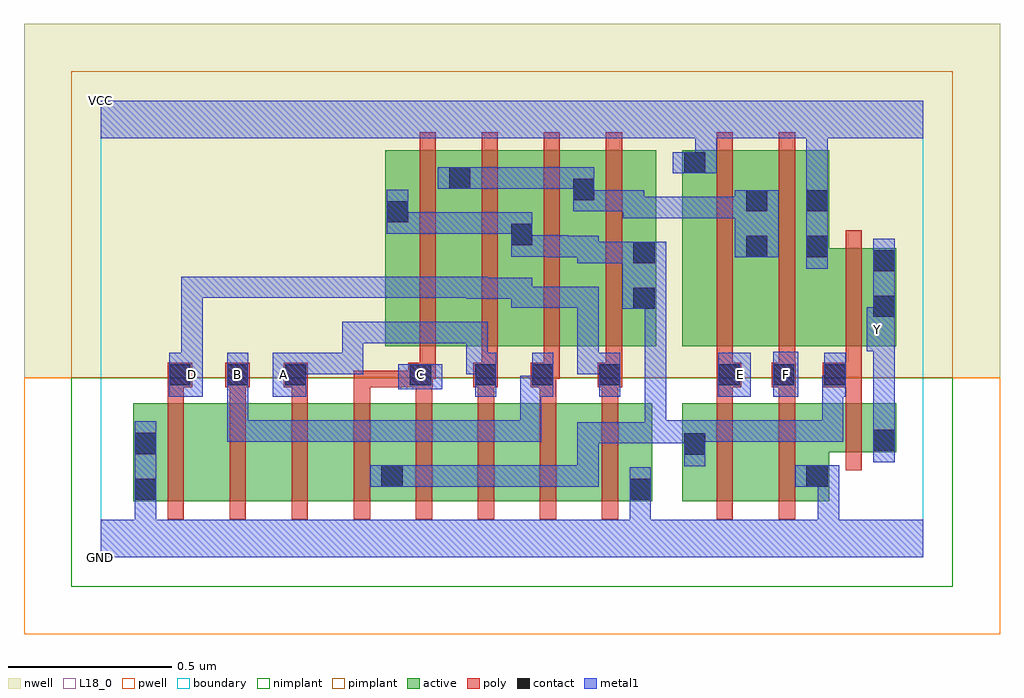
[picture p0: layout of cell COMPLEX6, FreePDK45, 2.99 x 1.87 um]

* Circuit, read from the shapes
.subckt COMPLEX6 A B C D E F GND VCC Y
M1 n1 D GND VSUBS nfet w=0.3u l=0.05u
M2 n2 B n1 VSUBS nfet w=0.3u l=0.05u
M3 n3 A n2 VSUBS nfet w=0.3u l=0.05u
M4 n4 C n3 VSUBS nfet w=0.3u l=0.05u
M5 n5 C n4 VSUBS nfet w=0.3u l=0.05u
M6 n6 A n5 VSUBS nfet w=0.3u l=0.05u
M7 n7 B n6 VSUBS nfet w=0.3u l=0.05u
M8 GND D n7 VSUBS nfet w=0.3u l=0.05u
M9 n8 E n4 VSUBS nfet w=0.3u l=0.05u
M10 GND F n8 VSUBS nfet w=0.3u l=0.05u
M11 Y n4 GND VSUBS nfet w=0.15u l=0.05u
M12 n9 C n4 n10 pfet w=0.6u l=0.05u
M13 n4 A n9 n10 pfet w=0.6u l=0.05u
M14 n9 B n4 n10 pfet w=0.6u l=0.05u
M15 n4 D n9 n10 pfet w=0.6u l=0.05u
M16 n9 E VCC n10 pfet w=0.6u l=0.05u
M17 VCC F n9 n10 pfet w=0.6u l=0.05u
M18 Y n4 VCC n10 pfet w=0.3u l=0.05u
.ends

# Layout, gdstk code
import gdstk
lib = gdstk.Library(unit=1e-6, precision=1e-09)
def R(c, l, rs):  # rectangles x0, y0, x1, y1
    for r in rs: c.add(gdstk.rectangle(r[:2], r[2:], *l))
def A(c, l, x, y, w, h, nx, ny, dx, dy):  # array of equal rectangles
    R(c, l, [(x+i*dx, y+j*dy, x+i*dx+w, y+j*dy+h) for i in range(nx) for j in range(ny)])
active = (1, 0)
pwell = (2, 0)
nwell = (3, 0)
nimplant = (4, 0)
pimplant = (5, 0)
poly = (9, 0)
contact = (10, 0)
metal1 = (11, 0)
L18_0 = (18, 0)
boundary = (235, 0)

complex6 = lib.new_cell('COMPLEX6')
A(complex6, active, 0.872, 0.647, 0.265, 0.6, 3, 1, 0.19, 0)
R(complex6, active, [(0.1,0.172,0.325,0.472), (0.1,0.172,0.175,0.472), (0.325,0.172,0.515,0.472), (0.515,0.172,0.705,0.472), (0.705,0.172,0.93,0.472), (0.855,0.172,1.085,0.472), (1.085,0.172,1.275,0.472), (1.275,0.172,1.465,0.472), (1.465,0.172,1.69,0.472), (1.615,0.172,1.69,0.472), (1.782,0.172,2.007,0.472), (2.007,0.172,2.232,0.472), (2.157,0.172,2.232,0.322), (0.855,0.195,0.93,0.392), (1.782,0.195,1.887,0.472), (2.157,0.322,2.437,0.472), (2.362,0.322,2.437,0.472), (1.442,0.647,1.702,1.247), (1.627,0.647,1.702,1.047), (1.782,0.647,2.047,1.247), (1.972,0.647,2.232,1.247), (2.157,0.647,2.437,0.947), (2.362,0.647,2.437,0.947), (0.872,0.707,0.947,1.2), (1.062,0.707,1.137,1.2), (1.252,0.707,1.327,1.07), (1.442,0.707,1.517,1.2), (1.782,0.707,1.857,1.247), (1.972,0.707,2.047,1.2), (2.157,0.707,2.232,1.13)])
R(complex6, pwell, [(-0.235,-0.235,2.755,0.55)])
R(complex6, nwell, [(-0.235,0.55,2.755,1.635)])
R(complex6, nimplant, [(-0.09,-0.09,2.61,0.55)])
R(complex6, pimplant, [(-0.09,0.55,2.61,1.49)])
A(complex6, poly, 0.205, 0.117, 0.05, 0.41, 8, 1, 0.19, 0)
A(complex6, poly, 0.205, 0.477, 0.05, 0.095, 8, 1, 0.19, 0)
A(complex6, poly, 0.977, 0.547, 0.05, 0.095, 4, 1, 0.19, 0)
A(complex6, poly, 0.977, 0.592, 0.05, 0.71, 4, 1, 0.19, 0)
R(complex6, poly, [(1.887,0.117,1.937,0.527), (2.077,0.117,2.127,0.527), (2.282,0.267,2.332,0.527), (1.887,0.477,1.937,0.572), (2.077,0.477,2.127,0.572), (2.282,0.477,2.332,0.572), (0.205,0.522,0.28,0.597), (0.382,0.522,0.457,0.597), (0.56,0.522,0.635,0.597), (0.775,0.522,0.825,0.572), (0.775,0.522,0.992,0.572), (0.942,0.522,0.992,0.572), (0.942,0.522,0.992,0.572), (0.942,0.522,1.017,0.597), (1.142,0.522,1.217,0.597), (1.155,0.522,1.205,0.572), (1.155,0.522,1.205,0.572), (1.317,0.522,1.395,0.597), (1.522,0.522,1.597,0.597), (1.535,0.522,1.585,0.572), (1.535,0.522,1.585,0.572), (1.887,0.522,1.937,0.572), (1.887,0.522,1.937,0.572), (1.887,0.522,1.962,0.597), (2.055,0.522,2.13,0.597), (2.077,0.522,2.127,0.572), (2.077,0.522,2.127,0.572), (2.212,0.522,2.332,0.597), (0.967,0.547,1.017,0.597), (0.967,0.547,1.027,0.597), (1.345,0.547,1.395,0.597), (1.345,0.547,1.407,0.597), (1.887,0.547,1.937,0.642), (2.077,0.547,2.127,0.642), (2.282,0.547,2.332,0.642), (2.282,0.547,2.332,0.597), (2.282,0.547,2.332,0.597), (1.887,0.592,1.937,1.302), (2.077,0.592,2.127,1.302), (2.282,0.592,2.332,1.002)])
R(complex6, contact, [(0.105,0.177,0.17,0.242), (1.62,0.177,1.685,0.242), (0.86,0.217,0.925,0.282), (2.162,0.217,2.227,0.282), (1.787,0.315,1.852,0.38), (0.105,0.317,0.17,0.382), (2.367,0.327,2.432,0.392), (0.21,0.527,0.275,0.592), (0.387,0.527,0.452,0.592), (0.565,0.527,0.63,0.592), (0.947,0.527,1.012,0.592), (1.147,0.527,1.212,0.592), (1.322,0.527,1.387,0.592), (1.527,0.527,1.592,0.592), (1.892,0.527,1.957,0.592), (2.06,0.527,2.125,0.592), (2.217,0.527,2.282,0.592), (2.367,0.737,2.432,0.802), (1.632,0.762,1.697,0.827), (2.367,0.877,2.432,0.942), (1.632,0.902,1.697,0.967), (1.977,0.92,2.042,0.985), (2.162,0.92,2.227,0.985), (1.257,0.957,1.322,1.022), (0.877,1.027,0.942,1.092), (1.977,1.06,2.042,1.125), (2.162,1.06,2.227,1.125), (1.447,1.095,1.512,1.16), (1.067,1.13,1.132,1.195), (1.787,1.177,1.852,1.242)])
R(complex6, metal1, [(0,0,2.52,0.115), (0.105,0.05,0.17,0.207), (1.62,0.05,1.685,0.207), (2.197,0.05,2.262,0.282), (0.105,0.142,0.17,0.417), (1.62,0.142,1.685,0.277), (0.825,0.217,0.96,0.282), (0.895,0.217,0.96,0.282), (0.895,0.217,0.96,0.282), (0.895,0.217,1.185,0.282), (1.12,0.217,1.185,0.282), (1.12,0.217,1.185,0.282), (1.12,0.217,1.185,0.282), (1.12,0.217,1.375,0.282), (1.31,0.217,1.375,0.282), (1.31,0.217,1.375,0.282), (1.31,0.217,1.375,0.282), (1.31,0.217,1.525,0.282), (1.46,0.217,1.525,0.415), (2.127,0.217,2.262,0.282), (1.787,0.28,1.852,0.415), (2.367,0.292,2.432,0.427), (1.46,0.35,1.68,0.415), (1.615,0.35,1.68,0.415), (1.615,0.35,1.732,0.415), (1.667,0.35,1.732,0.415), (1.667,0.35,1.732,0.415), (1.667,0.35,1.852,0.415), (1.667,0.35,1.732,0.42), (0.387,0.355,0.452,0.42), (0.387,0.355,0.452,0.557), (0.387,0.355,0.63,0.42), (0.565,0.355,0.63,0.42), (0.565,0.355,0.63,0.42), (0.565,0.355,0.63,0.42), (0.565,0.355,0.805,0.42), (0.74,0.355,0.805,0.42), (0.74,0.355,0.805,0.42), (0.74,0.355,0.805,0.42), (0.74,0.355,0.942,0.42), (0.877,0.355,0.942,0.42), (0.877,0.355,1.185,0.42), (1.12,0.355,1.185,0.42), (1.12,0.355,1.185,0.42), (1.12,0.355,1.185,0.42), (1.12,0.355,1.185,0.42), (1.12,0.355,1.185,0.42), (1.12,0.355,1.35,0.42), (1.285,0.355,1.35,0.557), (1.667,0.355,1.732,0.42), (1.667,0.355,1.732,0.42), (1.667,0.355,1.732,0.42), (1.667,0.355,1.732,0.42), (1.667,0.355,1.87,0.42), (1.667,0.355,1.732,0.827), (1.805,0.355,1.87,0.42), (1.805,0.355,1.87,0.42), (1.805,0.355,1.87,0.42), (1.805,0.355,2.055,0.42), (1.99,0.355,2.055,0.42), (1.99,0.355,2.055,0.42), (1.99,0.355,2.055,0.42), (1.99,0.355,2.275,0.42), (2.21,0.355,2.275,0.557), (2.367,0.362,2.432,0.697), (0.21,0.492,0.312,0.627), (0.387,0.492,0.452,0.557), (0.387,0.492,0.452,0.557), (0.387,0.492,0.452,0.627), (0.527,0.492,0.63,0.627), (1.147,0.492,1.212,0.627), (1.285,0.492,1.387,0.557), (1.322,0.492,1.387,0.627), (1.527,0.492,1.592,0.627), (1.892,0.492,1.992,0.627), (2.06,0.492,2.137,0.63), (2.21,0.492,2.282,0.557), (2.217,0.492,2.282,0.627), (0.912,0.515,1.047,0.592), (0.247,0.562,0.312,0.627), (0.247,0.562,0.312,0.627), (0.247,0.562,0.312,0.86), (0.565,0.562,0.63,0.627), (0.565,0.562,0.63,0.627), (0.565,0.562,0.805,0.627), (0.74,0.562,0.805,0.627), (0.74,0.562,0.805,0.627), (0.74,0.562,0.805,0.627), (0.74,0.562,0.805,0.722), (1.12,0.562,1.212,0.627), (1.12,0.562,1.185,0.722), (1.46,0.562,1.525,0.627), (1.46,0.562,1.592,0.627), (1.46,0.562,1.525,0.83), (2.347,0.632,2.432,0.767), (0.74,0.657,0.805,0.722), (0.74,0.657,1.047,0.722), (0.982,0.657,1.047,0.722), (0.982,0.657,1.185,0.722), (2.367,0.702,2.432,0.767), (2.367,0.702,2.432,0.767), (2.367,0.702,2.432,0.767), (2.367,0.702,2.432,0.977), (1.597,0.762,1.732,0.967), (1.257,0.765,1.322,0.83), (1.257,0.765,1.322,0.83), (1.257,0.765,1.525,0.83), (1.257,0.765,1.322,0.857), (1.46,0.765,1.525,0.83), (1.12,0.792,1.322,0.857), (1.12,0.792,1.185,0.86), (0.247,0.795,0.312,0.86), (0.247,0.795,0.312,0.86), (0.247,0.795,0.312,0.86), (0.247,0.795,0.45,0.86), (0.385,0.795,0.45,0.86), (0.385,0.795,0.45,0.86), (0.385,0.795,0.45,0.86), (0.385,0.795,0.59,0.86), (0.525,0.795,0.59,0.86), (0.525,0.795,0.59,0.86), (0.525,0.795,0.59,0.86), (0.525,0.795,0.767,0.86), (0.702,0.795,0.767,0.86), (0.702,0.795,0.767,0.86), (0.702,0.795,0.767,0.86), (0.702,0.795,0.942,0.86), (0.877,0.795,0.942,0.86), (0.877,0.795,1.185,0.86), (1.12,0.795,1.185,0.86), (1.12,0.795,1.185,0.86), (2.162,0.885,2.227,1.16), (1.46,0.902,1.662,0.967), (1.46,0.902,1.525,0.985), (1.597,0.902,1.662,0.967), (1.597,0.902,1.662,0.967), (1.597,0.902,1.662,0.967), (1.597,0.902,1.662,0.967), (1.367,0.92,1.525,0.985), (1.367,0.92,1.432,0.987), (1.942,0.92,2.077,1.125), (1.257,0.922,1.322,1.057), (1.257,0.922,1.432,0.987), (0.877,0.992,0.942,1.057), (0.877,0.992,0.942,1.057), (0.877,0.992,0.942,1.127), (0.877,0.992,1.185,1.057), (1.12,0.992,1.185,1.057), (1.12,0.992,1.185,1.057), (1.12,0.992,1.185,1.057), (1.12,0.992,1.322,1.057), (1.6,1.04,1.665,1.105), (1.6,1.04,1.665,1.105), (1.6,1.04,1.87,1.105), (1.6,1.04,1.665,1.125), (1.805,1.04,1.87,1.105), (1.805,1.04,1.87,1.105), (1.805,1.04,1.87,1.105), (1.805,1.04,2.007,1.105), (1.447,1.06,1.512,1.195), (1.447,1.06,1.665,1.125), (2.162,1.095,2.227,1.35), (1.032,1.13,1.167,1.195), (1.102,1.13,1.185,1.195), (1.12,1.13,1.185,1.195), (1.12,1.13,1.322,1.195), (1.257,1.13,1.322,1.195), (1.257,1.13,1.322,1.195), (1.257,1.13,1.322,1.195), (1.257,1.13,1.512,1.195), (1.752,1.177,1.887,1.242), (1.822,1.177,1.887,1.35), (0,1.285,2.52,1.4)])
A(complex6, L18_0, 0.247, 0.527, 0.065, 0.065, 3, 1, 0.14, 0)
R(complex6, L18_0, [(0,0,2.52,0.115), (0.105,0.05,0.17,0.207), (1.62,0.05,1.685,0.207), (2.197,0.05,2.262,0.282), (0.105,0.142,0.17,0.417), (1.62,0.142,1.685,0.277), (2.127,0.217,2.262,0.282), (2.367,0.292,2.432,0.427), (0.387,0.355,0.452,0.42), (0.387,0.355,0.452,0.557), (0.387,0.355,0.63,0.42), (0.565,0.355,0.63,0.42), (0.565,0.355,0.63,0.42), (0.565,0.355,0.63,0.42), (0.565,0.355,0.805,0.42), (0.74,0.355,0.805,0.42), (0.74,0.355,0.805,0.42), (0.74,0.355,0.805,0.42), (0.74,0.355,0.942,0.42), (0.877,0.355,0.942,0.42), (0.877,0.355,1.185,0.42), (1.12,0.355,1.185,0.42), (1.12,0.355,1.185,0.42), (1.12,0.355,1.185,0.42), (1.12,0.355,1.185,0.42), (1.12,0.355,1.185,0.42), (1.12,0.355,1.35,0.42), (1.285,0.355,1.35,0.557), (2.367,0.362,2.432,0.697), (0.21,0.492,0.312,0.627), (0.387,0.492,0.452,0.557), (0.387,0.492,0.452,0.557), (0.387,0.492,0.452,0.627), (0.527,0.492,0.63,0.627), (1.147,0.492,1.212,0.627), (1.285,0.492,1.387,0.557), (1.322,0.492,1.387,0.627), (1.527,0.492,1.592,0.627), (1.892,0.492,1.992,0.627), (2.06,0.492,2.137,0.63), (0.912,0.515,1.047,0.592), (0.947,0.527,1.012,0.592), (1.927,0.527,1.992,0.592), (2.067,0.527,2.132,0.592), (0.247,0.562,0.312,0.627), (0.247,0.562,0.312,0.627), (0.247,0.562,0.312,0.86), (0.565,0.562,0.63,0.627), (0.565,0.562,0.63,0.627), (0.565,0.562,0.805,0.627), (0.74,0.562,0.805,0.627), (0.74,0.562,0.805,0.627), (0.74,0.562,0.805,0.627), (0.74,0.562,0.805,0.722), (1.12,0.562,1.185,0.722), (1.12,0.562,1.212,0.627), (1.46,0.562,1.525,0.627), (1.46,0.562,1.525,0.83), (1.46,0.562,1.592,0.627), (2.347,0.632,2.432,0.767), (0.74,0.657,0.805,0.722), (0.74,0.657,1.047,0.722), (0.982,0.657,1.047,0.722), (0.982,0.657,1.185,0.722), (2.347,0.667,2.412,0.732), (2.367,0.702,2.432,0.977), (2.367,0.702,2.432,0.767), (2.367,0.702,2.432,0.767), (2.367,0.702,2.432,0.767), (1.257,0.765,1.322,0.83), (1.257,0.765,1.322,0.83), (1.257,0.765,1.322,0.857), (1.257,0.765,1.525,0.83), (1.46,0.765,1.525,0.83), (1.12,0.792,1.322,0.857), (1.12,0.792,1.185,0.86), (0.247,0.795,0.312,0.86), (0.247,0.795,0.312,0.86), (0.247,0.795,0.312,0.86), (0.247,0.795,0.45,0.86), (0.385,0.795,0.45,0.86), (0.385,0.795,0.45,0.86), (0.385,0.795,0.45,0.86), (0.385,0.795,0.59,0.86), (0.525,0.795,0.59,0.86), (0.525,0.795,0.59,0.86), (0.525,0.795,0.59,0.86), (0.525,0.795,0.767,0.86), (0.702,0.795,0.767,0.86), (0.702,0.795,0.767,0.86), (0.702,0.795,0.767,0.86), (0.702,0.795,0.942,0.86), (0.877,0.795,0.942,0.86), (0.877,0.795,1.185,0.86), (1.12,0.795,1.185,0.86), (1.12,0.795,1.185,0.86), (2.162,0.885,2.227,1.16), (2.162,1.095,2.227,1.35), (1.752,1.177,1.887,1.242), (1.822,1.177,1.887,1.35), (0,1.285,2.52,1.4)])
R(complex6, boundary, [(0,0,2.52,1.4)])
complex6.add(gdstk.Label('A', (0.56,0.56), layer=11, texttype=0))
complex6.add(gdstk.Label('B', (0.42,0.56), layer=11, texttype=0))
complex6.add(gdstk.Label('C', (0.98,0.56), layer=11, texttype=0))
complex6.add(gdstk.Label('D', (0.28,0.56), layer=11, texttype=0))
complex6.add(gdstk.Label('E', (1.96,0.56), layer=11, texttype=0))
complex6.add(gdstk.Label('F', (2.1,0.56), layer=11, texttype=0))
complex6.add(gdstk.Label('Y', (2.38,0.7), layer=11, texttype=0))
complex6.add(gdstk.Label('VCC', (0,1.4), layer=11, texttype=0))
complex6.add(gdstk.Label('GND', (0,0), layer=11, texttype=0))

lib.write_gds('COMPLEX6.gds')
